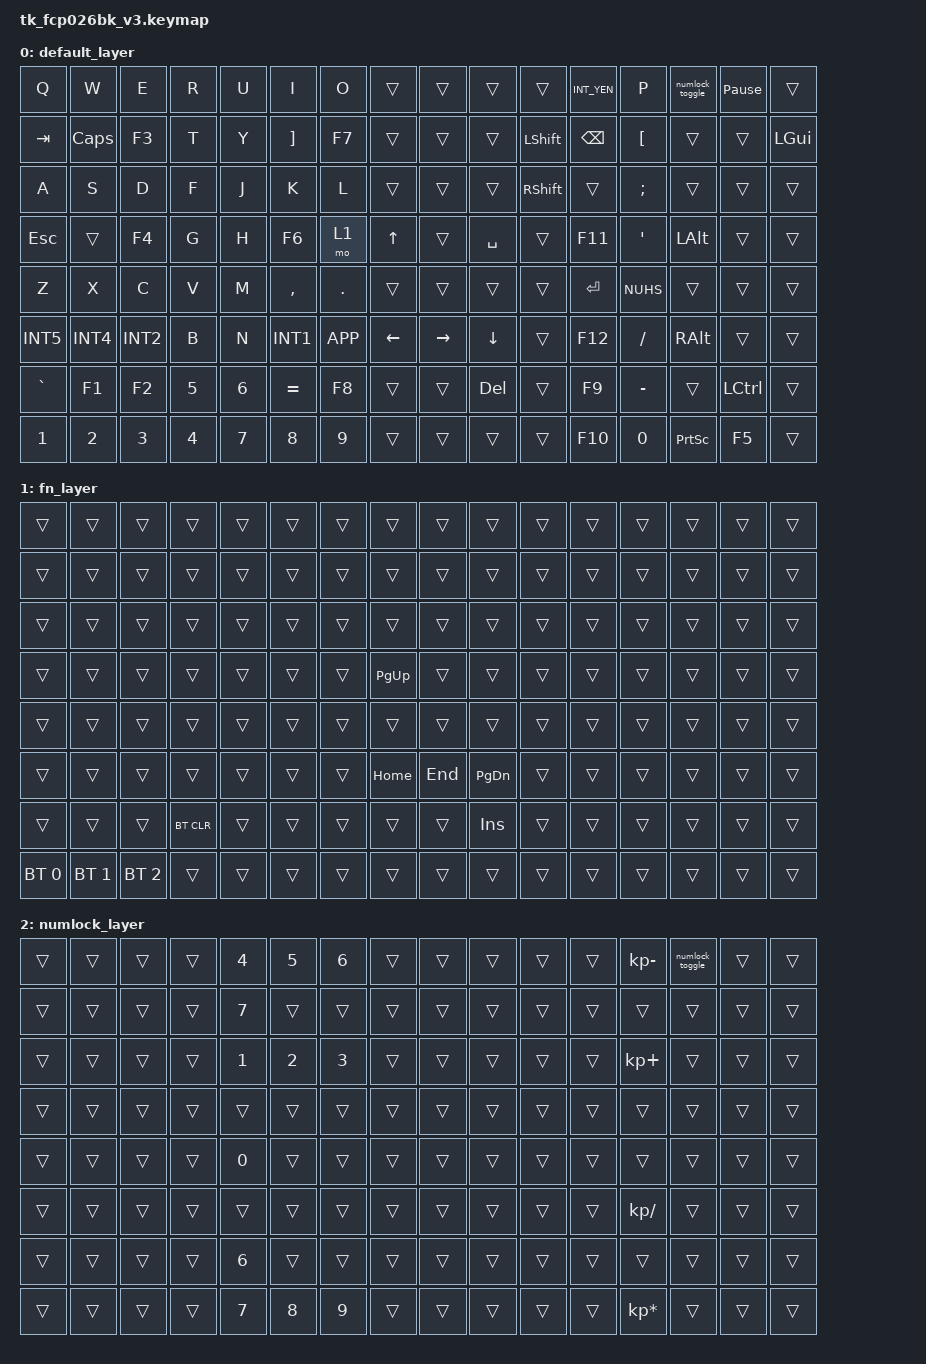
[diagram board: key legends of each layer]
/*
 * TK-FCP026BK Keymap v11
 * 86キー 日本語配列
 * 配線: Row=MCP23017(GPA0-7)、Col=XIAO Plus(D0-D3,D6-D14,D17-D19)
 *
 * bindingsの並び順: Row行優先 8行×16列=128エントリ
 *
 * レイヤー構成:
 *   Layer 0: default_layer  … 通常入力
 *   Layer 1: fn_layer       … FNキー押しっぱなし中
 *   Layer 2: numlock_layer  … NumLockキーでトグル（テンキー的数字入力）
 *
 */

#include <behaviors.dtsi>
#include <dt-bindings/zmk/keys.h>
#include <dt-bindings/zmk/bt.h>

/ {
    macros {
        numlock_toggle: numlock_toggle {
            compatible = "zmk,behavior-macro";
            #binding-cells = <0>;
            bindings = <&kp KP_NUM>, <&tog 2>;
        };
    };

    keymap {
        compatible = "zmk,keymap";

        default_layer {
            bindings = <
/* Col:          D0                D1                D2                D3                D6                D7                D8                D9                D10               D11               D12               D13               D14               D17               D18               D19           */
/* Row0 GPA0 */ &kp Q             &kp W             &kp E             &kp R             &kp U             &kp I             &kp O             &trans            &trans            &trans            &trans            &kp INT_YEN       &kp P             &numlock_toggle   &kp PAUSE_BREAK   &trans
/* Row1 GPA1 */ &kp TAB           &kp CAPS          &kp F3            &kp T             &kp Y             &kp RBKT          &kp F7            &trans            &trans            &trans            &kp LSHFT         &kp BSPC          &kp LBKT          &trans            &trans            &kp LGUI
/* Row2 GPA2 */ &kp A             &kp S             &kp D             &kp F             &kp J             &kp K             &kp L             &trans            &trans            &trans            &kp RSHFT         &trans            &kp SEMI          &trans            &trans            &trans
/* Row3 GPA3 */ &kp ESC           &trans            &kp F4            &kp G             &kp H             &kp F6            &mo 1             &kp UP            &trans            &kp SPACE         &trans            &kp F11           &kp QUOT          &kp LALT          &trans            &trans
/* Row4 GPA4 */ &kp Z             &kp X             &kp C             &kp V             &kp M             &kp COMMA         &kp DOT           &trans            &trans            &trans            &trans            &kp RET           &kp NUHS          &trans            &trans            &trans
/* Row5 GPA5 */ &kp INT5          &kp INT4          &kp INT2          &kp B             &kp N             &kp INT1          &kp K_APP         &kp LEFT          &kp RIGHT         &kp DOWN          &trans            &kp F12           &kp FSLH          &kp RALT          &trans            &trans
/* Row6 GPA6 */ &kp GRAVE         &kp F1            &kp F2            &kp N5            &kp N6            &kp EQUAL         &kp F8            &trans            &trans            &kp DEL           &trans            &kp F9            &kp MINUS         &trans            &kp LCTRL         &trans
/* Row7 GPA7 */ &kp N1            &kp N2            &kp N3            &kp N4            &kp N7            &kp N8            &kp N9            &trans            &trans            &trans            &trans            &kp F10           &kp N0            &kp PSCRN         &kp F5            &trans
            >;
        };

        fn_layer {
            bindings = <
/* Col:          D0                D1                D2                D3                D6                D7                D8                D9                D10               D11               D12               D13               D14               D17               D18               D19           */
/* Row0 GPA0 */ &trans            &trans            &trans            &trans            &trans            &trans            &trans            &trans            &trans            &trans            &trans            &trans            &trans            &trans            &trans            &trans
/* Row1 GPA1 */ &trans            &trans            &trans            &trans            &trans            &trans            &trans            &trans            &trans            &trans            &trans            &trans            &trans            &trans            &trans            &trans
/* Row2 GPA2 */ &trans            &trans            &trans            &trans            &trans            &trans            &trans            &trans            &trans            &trans            &trans            &trans            &trans            &trans            &trans            &trans
/* Row3 GPA3 */ &trans            &trans            &trans            &trans            &trans            &trans            &trans            &kp PG_UP         &trans            &trans            &trans            &trans            &trans            &trans            &trans            &trans
/* Row4 GPA4 */ &trans            &trans            &trans            &trans            &trans            &trans            &trans            &trans            &trans            &trans            &trans            &trans            &trans            &trans            &trans            &trans
/* Row5 GPA5 */ &trans            &trans            &trans            &trans            &trans            &trans            &trans            &kp HOME          &kp END           &kp PG_DN         &trans            &trans            &trans            &trans            &trans            &trans
/* Row6 GPA6 */ &trans            &trans            &trans            &bt BT_CLR        &trans            &trans            &trans            &trans            &trans            &kp INS           &trans            &trans            &trans            &trans            &trans            &trans
/* Row7 GPA7 */ &bt BT_SEL 0      &bt BT_SEL 1      &bt BT_SEL 2      &trans            &trans            &trans            &trans            &trans            &trans            &trans            &trans            &trans            &trans            &trans            &trans            &trans
            >;
        };

        numlock_layer {
            bindings = <
/* Col:          D0                D1                D2                D3                D6                D7                D8                D9                D10               D11               D12               D13               D14               D17               D18               D19           */
/* Row0 GPA0 */ &trans            &trans            &trans            &trans            &kp N4            &kp N5            &kp N6            &trans            &trans            &trans            &trans            &trans            &kp KP_MINUS      &numlock_toggle   &trans            &trans
/* Row1 GPA1 */ &trans            &trans            &trans            &trans            &kp N7            &trans            &trans            &trans            &trans            &trans            &trans            &trans            &trans            &trans            &trans            &trans
/* Row2 GPA2 */ &trans            &trans            &trans            &trans            &kp N1            &kp N2            &kp N3            &trans            &trans            &trans            &trans            &trans            &kp KP_PLUS       &trans            &trans            &trans
/* Row3 GPA3 */ &trans            &trans            &trans            &trans            &trans            &trans            &trans            &trans            &trans            &trans            &trans            &trans            &trans            &trans            &trans            &trans
/* Row4 GPA4 */ &trans            &trans            &trans            &trans            &kp N0            &trans            &trans            &trans            &trans            &trans            &trans            &trans            &trans            &trans            &trans            &trans
/* Row5 GPA5 */ &trans            &trans            &trans            &trans            &trans            &trans            &trans            &trans            &trans            &trans            &trans            &trans            &kp KP_SLASH      &trans            &trans            &trans
/* Row6 GPA6 */ &trans            &trans            &trans            &trans            &kp N6            &trans            &trans            &trans            &trans            &trans            &trans            &trans            &trans            &trans            &trans            &trans
/* Row7 GPA7 */ &trans            &trans            &trans            &trans            &kp N7            &kp N8            &kp N9            &trans            &trans            &trans            &trans            &trans            &kp KP_MULTIPLY   &trans            &trans            &trans
            >;
        };
    };
}; 
